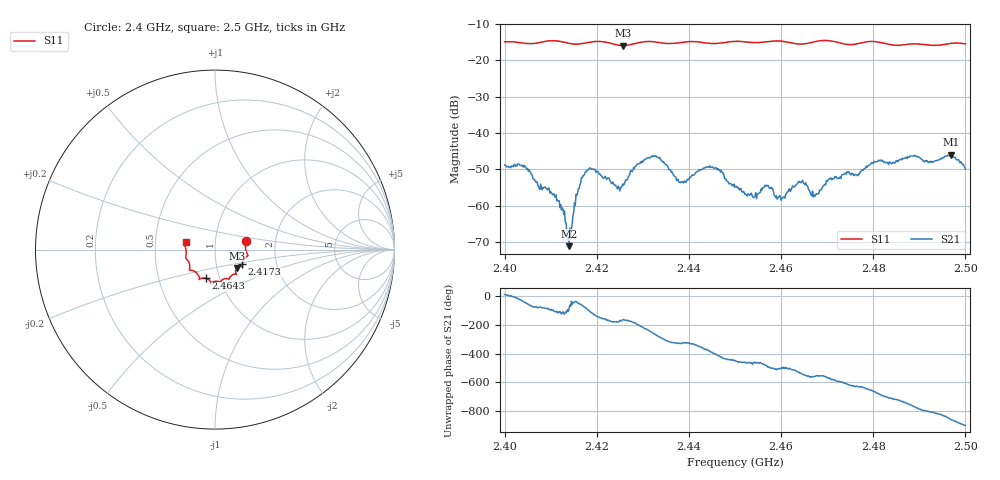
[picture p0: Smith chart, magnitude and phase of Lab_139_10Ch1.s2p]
# Hz S RI R 50
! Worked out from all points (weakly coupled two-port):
!   601 points, 2.4 GHz to 2.5 GHz, reference 50 ohm
!   highest |S21| = -45.98 dB at 2.4968 GHz (marker M1); lowest = -71.1 dB at 2.414 GHz (marker M2)
!   lowest |S11| = -15.9 dB at 2.4257 GHz (marker M3), VSWR 1.38, Z = 62.4 - j13.2 ohm
!   |S11| at or under -10 dB: start of sweep to end of sweep
!   S12 and S22 are empty: the file has one direction only
!   S11 on the Smith chart (normalised r, x): 2.4 GHz: 1.41, +0.14; 2.4173 GHz: 1.34, -0.23; 2.4643 GHz: 0.86, -0.28; 2.5 GHz: 0.72, +0.06
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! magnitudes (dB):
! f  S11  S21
! 2.4 GHz  -14.9  -48.8
! 2.4042 GHz  -15.2  -49.4
! 2.4107 GHz  -14.6  -56.7
! 2.4125 GHz  -14.9  -60.6
! 2.414 GHz  -15.3  -71.1
! 2.4167 GHz  -15.4  -52.4
! 2.4173 GHz  -15.2  -51.4
! 2.4257 GHz  -15.9  -54.0
! 2.429 GHz  -15.1  -48.4
! 2.4333 GHz  -15.0  -46.7
! 2.4383 GHz  -15.1  -53.4
! 2.4447 GHz  -15.3  -49.5
! 2.45 GHz  -14.7  -54.9
! 2.4542 GHz  -15.1  -57.6
! 2.4568 GHz  -14.9  -54.4
! 2.4603 GHz  -14.7  -57.9
! 2.4643 GHz  -15.5  -53.7
! 2.4667 GHz  -15.0  -57.3
! 2.4703 GHz  -14.6  -52.9
! 2.4833 GHz  -15.6  -48.6
! 2.4968 GHz  -15.3  -46.0
! 2.5 GHz  -15.5  -50.0
